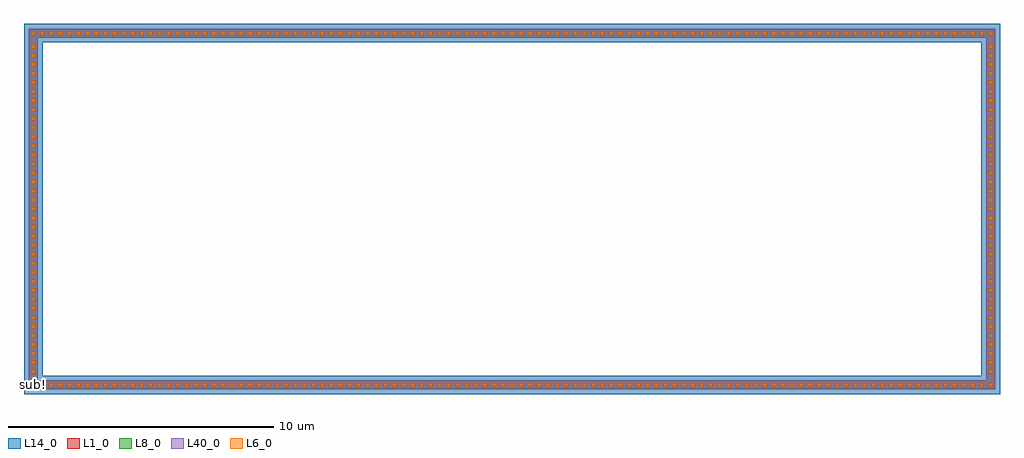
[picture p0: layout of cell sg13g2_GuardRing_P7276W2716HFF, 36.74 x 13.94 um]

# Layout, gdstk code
import gdstk
lib = gdstk.Library(unit=1e-6, precision=1e-09)
def R(c, l, rs):  # rectangles x0, y0, x1, y1
    for r in rs: c.add(gdstk.rectangle(r[:2], r[2:], *l))
def A(c, l, x, y, w, h, nx, ny, dx, dy):  # array of equal rectangles
    R(c, l, [(x+i*dx, y+j*dy, x+i*dx+w, y+j*dy+h) for i in range(nx) for j in range(ny)])
def P(c, l, *ps):  # polygons
    for p in ps: c.add(gdstk.Polygon(p, *l))
L1_0 = (1, 0)
L6_0 = (6, 0)
L8_0 = (8, 0)
L14_0 = (14, 0)
L40_0 = (40, 0)

sg13g2_guardring_p7276w2 = lib.new_cell('sg13g2_GuardRing_P7276W2716HFF')
P(sg13g2_guardring_p7276w2, L1_0, [(-18.19,-6.79),(-18.19,6.45),(-17.85,6.45),(-17.85,-6.45),(17.85,-6.45),(17.85,6.45),(-18.19,6.45),(-18.19,6.79),(18.19,6.79),(18.19,-6.79)])
A(sg13g2_guardring_p7276w2, L6_0, -18.1, -6.7, 0.16, 0.16, 107, 2, 0.34, 13.24)
A(sg13g2_guardring_p7276w2, L6_0, -18.1, -6.2, 0.16, 0.16, 1, 37, 0, 0.34)
A(sg13g2_guardring_p7276w2, L6_0, 17.94, -6.2, 0.16, 0.16, 1, 37, 0, 0.34)
P(sg13g2_guardring_p7276w2, L8_0, [(-18.19,-6.79),(-18.19,6.45),(-17.85,6.45),(-17.85,-6.45),(17.85,-6.45),(17.85,6.45),(-18.19,6.45),(-18.19,6.79),(18.19,6.79),(18.19,-6.79)])
P(sg13g2_guardring_p7276w2, L14_0, [(-18.37,-6.97),(-18.37,6.27),(-17.67,6.27),(-17.67,-6.27),(17.67,-6.27),(17.67,6.27),(-18.37,6.27),(-18.37,6.97),(18.37,6.97),(18.37,-6.97)])
P(sg13g2_guardring_p7276w2, L40_0, [(-18.19,-6.79),(-18.19,6.45),(-17.85,6.45),(-17.85,-6.45),(17.85,-6.45),(17.85,6.45),(-18.19,6.45),(-18.19,6.79),(18.19,6.79),(18.19,-6.79)])
sg13g2_guardring_p7276w2.add(gdstk.Label('sub!', (-18.02,-6.62), layer=63, texttype=0))

lib.write_gds('sg13g2_GuardRing_P7276W2716HFF.gds')
